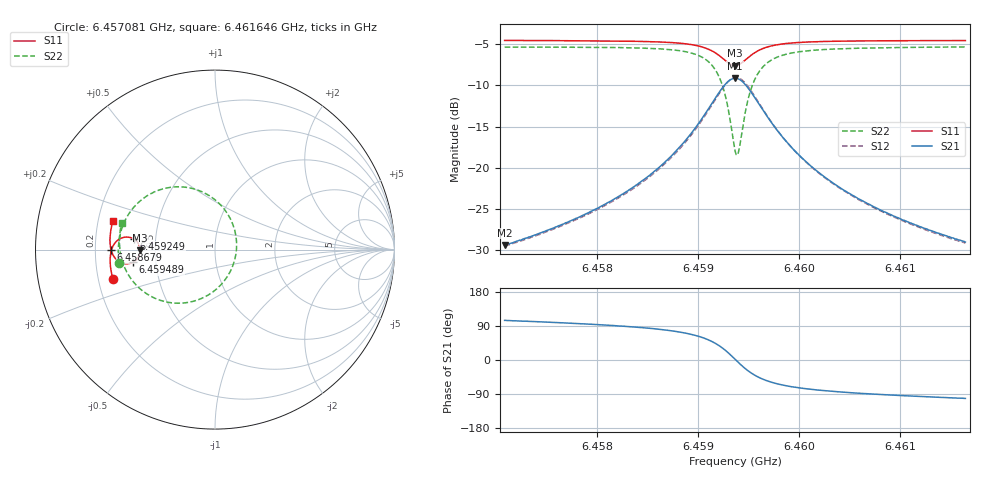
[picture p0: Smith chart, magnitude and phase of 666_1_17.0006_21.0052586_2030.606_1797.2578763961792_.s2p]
#  HZ  S  RI  R  50.00
! Rohde & Schwarz Vector Network Analyzer
! Rohde-Schwarz,ZNB20-2Port,1311601062101988,3.16
! Created: UTC 3/20/2024, 11:21:57 PM
! freq[Hz]  re:S11  im:S11  re:S21  im:S21  re:S12  im:S12  re:S22  im:S22
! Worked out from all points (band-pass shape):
!   401 points, 6.457081 GHz to 6.461646 GHz, reference 50 ohm
!   highest |S21| = -9.14 dB at 6.459363 GHz (marker M1); lowest = -29.4 dB at 6.457081 GHz (marker M2)
!   |S21| within 3 dB of the highest: 6.459137 GHz to 6.459594 GHz (456.6 kHz wide, 0.00707 % of centre)
!   lowest |S11| = -7.6 dB at 6.459363 GHz (marker M3), VSWR 2.43, Z = 20.6 - j0.197 ohm
!   |S11| at or under -10 dB: nowhere
!   |S22| runs from -18.5 to -5.3 dB; largest |S21 - S12| = 0.014
!   S11 on the Smith chart (normalised r, x): 6.457081 GHz: 0.26, -0.13; 6.458679 GHz: 0.27, -0.00; 6.459249 GHz: 0.37, +0.06; 6.459489 GHz: 0.37, -0.07; 6.461646 GHz: 0.26, +0.13
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6.4570809e9  -0.5689 -0.1643  -0.00856 0.0329  -0.00682 0.0328  -0.5343 -0.0759
6.4578455e9  -0.5819 -0.097  -0.00492 0.051  -0.00239 0.0503  -0.538 0.0143
6.4582791e9  -0.5842 -0.0533  0.00159 0.0711  0.00477 0.0697  -0.5285 0.0838
6.4586101e9  -0.5799 -0.0135  0.0156 0.0992  0.0195 0.0966  -0.5024 0.1591
6.4586786e9  -0.5776 -0.00402  0.021 0.1077  0.025 0.1044  -0.4922 0.1791
6.4588726e9  -0.5646 0.0262  0.0478 0.1385  0.052 0.1334  -0.4413 0.2482
6.4590209e9  -0.5418 0.0524  0.0936 0.1686  0.0966 0.1618  -0.357 0.3119
6.4591579e9  -0.4978 0.0698  0.181 0.185  0.1817 0.1774  -0.1973 0.3498
6.4592492e9  -0.453 0.0593  0.2711 0.1535  0.271 0.1477  -0.0301 0.2994
6.4593176e9  -0.4236 0.0275  0.3324 0.0816  0.3342 0.0765  0.0866 0.1697
6.4593633e9  -0.4164 -0.00395  0.3491 0.013  0.3528 0.00641  0.1202 0.0415
6.4593975e9  -0.4201 -0.0279  0.3436 -0.0402  0.3476 -0.049  0.1092 -0.0595
6.4594432e9  -0.4358 -0.0545  0.3149 -0.101  0.3172 -0.1129  0.0511 -0.1748
6.4594888e9  -0.4581 -0.0711  0.272 -0.1429  0.2714 -0.1562  -0.0354 -0.2517
6.4595345e9  -0.4814 -0.0782  0.2267 -0.1658  0.223 -0.1789  -0.1264 -0.2894
6.4595801e9  -0.5021 -0.0783  0.1855 -0.1744  0.1793 -0.1862  -0.2081 -0.2987
6.4597285e9  -0.5466 -0.0575  0.096 -0.1599  0.0873 -0.1662  -0.3788 -0.2473
6.4598883e9  -0.5683 -0.0296  0.0506 -0.1311  0.0429 -0.1338  -0.4601 -0.1733
6.4601279e9  -0.5808 0.00624  0.0215 -0.0987  0.0155 -0.0992  -0.5079 -0.0891
6.4605159e9  -0.5851 0.0521  0.0043 -0.0686  0.000345 -0.068  -0.5299 -0.000516
6.4608925e9  -0.5826 0.0899  -0.00219 -0.0524  -0.00495 -0.0516  -0.5323 0.0595
6.4616457e9  -0.5701 0.1566  -0.00698 -0.0348  -0.00869 -0.0338  -0.52 0.1491
